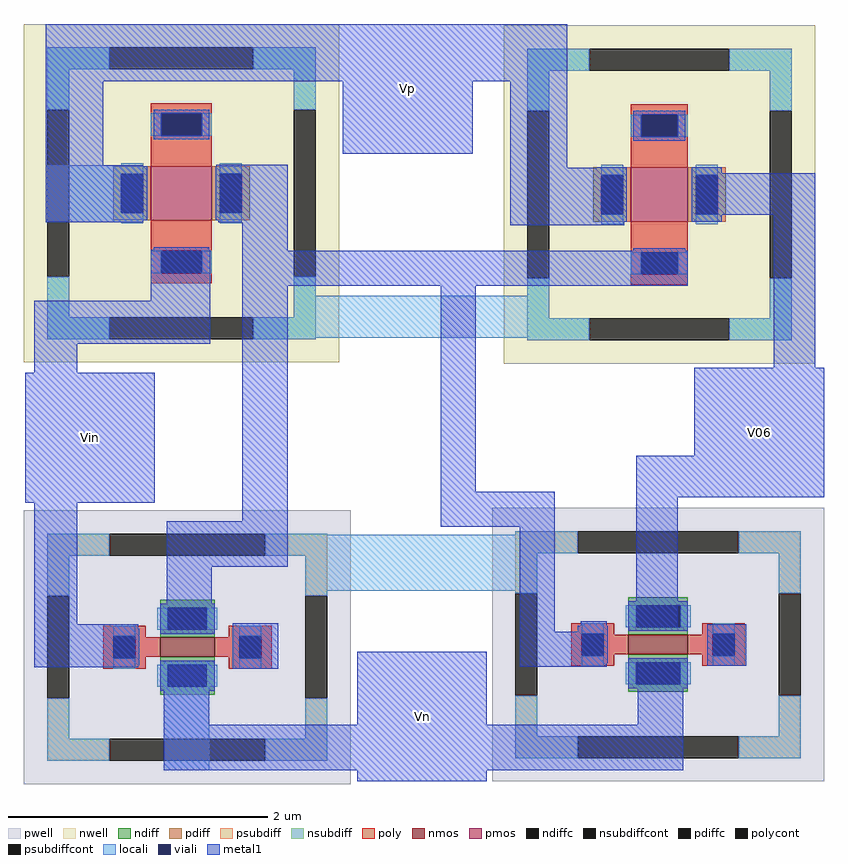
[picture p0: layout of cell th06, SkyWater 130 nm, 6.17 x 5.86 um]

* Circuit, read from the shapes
.subckt th06 Vp Vin V06 Vn
XM1 n1 Vin Vn Vn sky130_fd_pr__nfet_01v8 w=0.42 l=0.15
XM2 V06 n1 Vn Vn sky130_fd_pr__nfet_01v8 w=0.46 l=0.15
XM3 n1 Vin Vp Vp sky130_fd_pr__pfet_01v8 w=0.42 l=0.47
XM4 V06 n1 Vp Vp sky130_fd_pr__pfet_01v8 w=0.42 l=0.44
.ends

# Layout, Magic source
magic
tech sky130A
magscale 1 2
<< pwell >>
rect 528 -874 598 -705
<< locali >>
rect 342 -244 492 -156
rect 724 -422 1097 -357
rect 742 -812 1097 -726
rect 524 -1089 594 -920
<< metal1 >>
rect 342 -26 1146 62
rect 342 -156 430 -26
rect 800 -138 1000 -26
rect 342 -244 492 -156
rect 605 -225 715 -155
rect 608 -244 715 -225
rect 504 -287 594 -286
rect 504 -365 595 -287
rect 324 -431 595 -365
rect 645 -288 715 -244
rect 1058 -160 1146 -26
rect 1058 -248 1234 -160
rect 1342 -232 1528 -168
rect 645 -342 1332 -288
rect 324 -476 390 -431
rect 310 -676 510 -476
rect 324 -864 390 -676
rect 645 -705 715 -342
rect 528 -775 715 -705
rect 951 -659 1005 -342
rect 1464 -468 1528 -232
rect 1342 -604 1542 -468
rect 951 -713 1127 -659
rect 324 -930 484 -864
rect 528 -874 598 -775
rect 524 -1019 594 -926
rect 630 -932 700 -862
rect 1073 -875 1127 -713
rect 1252 -668 1542 -604
rect 1167 -875 1207 -859
rect 1252 -868 1316 -668
rect 822 -1019 1022 -906
rect 1073 -929 1207 -875
rect 1255 -1019 1325 -923
rect 1362 -928 1422 -864
rect 524 -1089 1325 -1019
rect 822 -1106 1022 -1089
use sky130_fd_pr__nfet_01v8_L7T3GD  XM0
transform 0 -1 560 1 0 -899
box -211 -252 211 252
use sky130_fd_pr__pfet_01v8_NZD9V2  XM1
transform 1 0 551 0 1 -199
box -243 -261 243 261
use sky130_fd_pr__pfet_01v8_3PDS9J  XM2
transform 1 0 1288 0 1 -201
box -240 -261 240 261
use sky130_fd_pr__nfet_01v8_97T34Z  XM3
transform 0 -1 1286 1 0 -895
box -211 -256 211 256
<< labels >>
flabel metal1 310 -676 510 -476 0 FreeSans 256 0 0 0 Vin
port 1 nsew
flabel metal1 800 -138 1000 62 0 FreeSans 256 0 0 0 Vp
port 0 nsew
flabel metal1 822 -1106 1022 -906 0 FreeSans 256 0 0 0 Vn
port 3 nsew
flabel metal1 1342 -668 1542 -468 0 FreeSans 256 0 0 0 V06
port 2 nsew
<< end >>

# cell sky130_fd_pr__nfet_01v8_L7T3GD: kit device sky130_fd_pr__nfet_01v8, w 0.42 l 0.15 m 1 nf 1 diffcov 100 polycov 100 guard 1 glc 1 grc 1 gtc 1 gbc 1 tbcov 100 rlcov 100 topc 1 botc 1 poverlap 0 doverlap 1 lmin 0.15 wmin 0.42 compatible {sky130_fd_pr__nfet_01v8 sky130_fd_pr__nfet_01v8_lvt sky130_fd_bs_flash__special_sonosfet_star sky130_fd_pr__nfet_g5v0d10v5 sky130_fd_pr__nfet_05v0_nvt sky130_fd_pr__nfet_03v3_nvt} full_metal 1 viasrc 100 viadrn 100 viagate 100 viagb 0 viagr 0 viagl 0 viagt 0

# cell sky130_fd_pr__pfet_01v8_NZD9V2: kit device sky130_fd_pr__pfet_01v8, w 0.42 l 0.47 m 1 nf 1 diffcov 100 polycov 100 guard 1 glc 1 grc 1 gtc 1 gbc 1 tbcov 100 rlcov 100 topc 1 botc 1 poverlap 0 doverlap 1 lmin 0.15 wmin 0.42 compatible {sky130_fd_pr__pfet_01v8 sky130_fd_pr__pfet_01v8_lvt sky130_fd_pr__pfet_01v8_hvt sky130_fd_pr__pfet_g5v0d10v5} full_metal 1 viasrc 100 viadrn 100 viagate 100 viagb 0 viagr 0 viagl 0 viagt 0

# cell sky130_fd_pr__pfet_01v8_3PDS9J: kit device sky130_fd_pr__pfet_01v8, w 0.42 l 0.436 m 1 nf 1 diffcov 100 polycov 100 guard 1 glc 1 grc 1 gtc 1 gbc 1 tbcov 100 rlcov 100 topc 1 botc 1 poverlap 0 doverlap 1 lmin 0.15 wmin 0.42 compatible {sky130_fd_pr__pfet_01v8 sky130_fd_pr__pfet_01v8_lvt sky130_fd_pr__pfet_01v8_hvt sky130_fd_pr__pfet_g5v0d10v5} full_metal 1 viasrc 100 viadrn 100 viagate 100 viagb 0 viagr 0 viagl 0 viagt 0

# cell sky130_fd_pr__nfet_01v8_97T34Z: kit device sky130_fd_pr__nfet_01v8, w 0.46 l 0.15 m 1 nf 1 diffcov 100 polycov 100 guard 1 glc 1 grc 1 gtc 1 gbc 1 tbcov 100 rlcov 100 topc 1 botc 1 poverlap 0 doverlap 1 lmin 0.15 wmin 0.42 compatible {sky130_fd_pr__nfet_01v8 sky130_fd_pr__nfet_01v8_lvt sky130_fd_bs_flash__special_sonosfet_star sky130_fd_pr__nfet_g5v0d10v5 sky130_fd_pr__nfet_05v0_nvt sky130_fd_pr__nfet_03v3_nvt} full_metal 1 viasrc 100 viadrn 100 viagate 100 viagb 0 viagr 0 viagl 0 viagt 0
